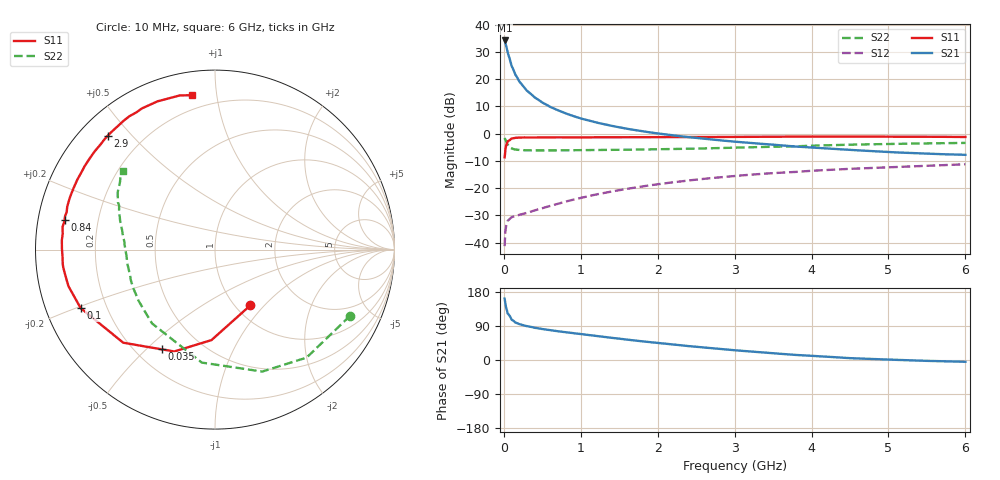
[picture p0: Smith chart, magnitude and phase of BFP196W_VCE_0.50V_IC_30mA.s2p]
! Infineon Technologies  Discrete & RF Semiconductors
! BFP196W
! VCE = 0.50V,  IC =  30mA
! Common Emitter S-Parameters:  Jan 2016
# GHz  S  MA  R  50
!  f  S11  S21  S12  S22
! GHz  MAG  ANG  MAG  ANG  MAG  ANG  MAG  ANG
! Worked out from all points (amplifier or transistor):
!   210 points, 10 MHz to 6 GHz, reference 50 ohm
!   highest |S21| = 34.2 dB at 10 MHz (marker M1)
!   |S21| within 3 dB of that: start of sweep to 38.26 MHz
!   unconditionally stable (mu >= 1): 596.2 MHz to end of sweep
!   at 185 MHz: K = 0.46, MSG = 25.0 dB, |S12| = -30.0 dB
!   at 1.52 GHz: K = 1.19, MAG = 8.8 dB, |S12| = -20.6 dB
!   at 6 GHz: K = 1.08, MAG = 0.0 dB, |S12| = -11.2 dB
!   S11 on the Smith chart (normalised r, x): 10 MHz: 1.16, -0.84; 35 MHz: 0.30, -0.56; 100 MHz: 0.11, -0.21; 840 MHz: 0.08, +0.10; 2.9 GHz: 0.08, +0.43; 6 GHz: 0.12, +0.85
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0.01  0.368 -57.8  51.52 162.0  0.0086 73.3  0.8382 -26.1
0.02  0.5044 -92.2  46.87 148.6  0.016 60.3  0.789 -49.7
0.03  0.6113 -111.8  41.06 137.6  0.0203 50.7  0.7288 -68.8
0.035  0.6303 -118.2  38.25 134.6  0.0214 47.3  0.6906 -75.0
0.05  0.7285 -134.6  30.64 122.7  0.0251 39.0  0.6337 -96.7
0.1  0.8164 -156.5  17.69 106.6  0.0292 28.9  0.5407 -130.5
0.15  0.8417 -166.0  12.14 98.8  0.0308 27.0  0.5125 -146.1
0.2  0.8468 -170.7  9.168 94.8  0.0323 28.9  0.5035 -154.4
0.24  0.8512 -173.3  7.764 92.2  0.0335 30.6  0.5 -158.6
0.3  0.8502 -176.5  6.152 89.3  0.0352 33.7  0.4941 -163.5
0.4  0.8529 179.5  4.642 85.1  0.039 37.8  0.4937 -168.1
0.5  0.8549 176.5  3.737 81.7  0.0428 41.8  0.4947 -171.4
0.6  0.8531 174.0  3.122 78.7  0.0471 44.6  0.4941 -173.8
0.84  0.8545 168.8  2.261 72.3  0.0584 49.9  0.496 -177.5
1.02  0.8534 165.3  1.87 67.7  0.067 51.9  0.499 -179.7
1.4  0.8591 158.2  1.394 58.4  0.0866 53.5  0.5049 176.8
2.02  0.8623 147.5  1.002 44.6  0.119 51.8  0.517 171.6
2.9  0.8716 133.2  0.736 27.6  0.1627 45.3  0.5484 163.9
3.1  0.8736 130.1  0.695 24.1  0.1718 43.4  0.5571 161.9
4.1  0.885 116.2  0.547 9.9  0.2119 34.8  0.6072 153.0
5.1  0.8806 105.7  0.453 0.4  0.2446 26.6  0.6494 144.6
6  0.8696 98.5  0.409 -4.7  0.2743 20.3  0.6767 139.6
